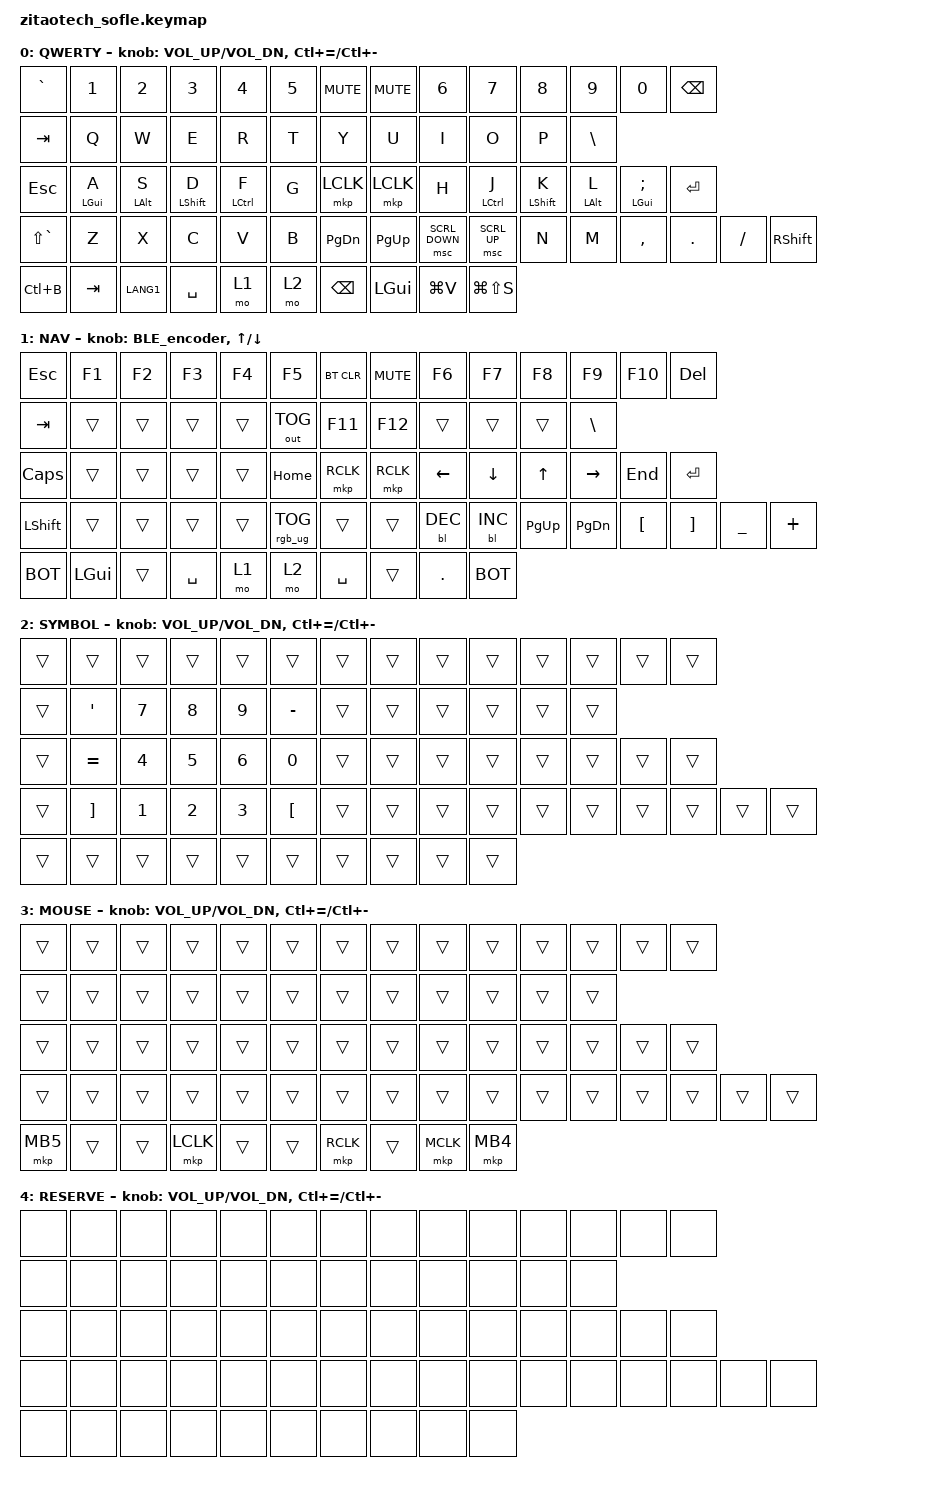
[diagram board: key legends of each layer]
/*
 * Copyright (c) 2025 ZitaoTech
 * SPDX-License-Identifier: MIT
 *
 * 定制键图 —— 设计记录见 keymap-design/
 * Caps->Esc / 位置0=`~` / HRM(A S D F + J K L ;) / 60=导航层 / 61=符号层(兼小红点滚轮) / MOUSE层自动
 */

#include <behaviors.dtsi>
#include <dt-bindings/zmk/keys.h>
#include <dt-bindings/zmk/bt.h>
#include <dt-bindings/zmk/outputs.h>
#include <dt-bindings/zmk/mouse.h>
#include <dt-bindings/zmk/backlight.h>
#include <dt-bindings/zmk/ext_power.h>
#include <dt-bindings/zmk/rgb.h>

#define FUNC 1
#define RES 2
#define BOT bootloader

/ {
    input_processors {
        zip_temp_layer: zip_temp_layer {
            compatible = "zmk,input-processor-temp-layer";
            #input-processor-cells = <2>;
        };
        ip_behaviors0: ip_behaviors0 { compatible = "zmk,input-processor-behaviors"; #input-processor-cells = <0>; type = <INPUT_EV_KEY>; codes = <INPUT_BTN_0>; bindings = <&kp RIGHT>; };
        ip_behaviors1: ip_behaviors1 { compatible = "zmk,input-processor-behaviors"; #input-processor-cells = <0>; type = <INPUT_EV_KEY>; codes = <INPUT_BTN_1>; bindings = <&kp LEFT>; };
        ip_behaviors2: ip_behaviors2 { compatible = "zmk,input-processor-behaviors"; #input-processor-cells = <0>; type = <INPUT_EV_KEY>; codes = <INPUT_BTN_2>; bindings = <&kp DOWN>; };
        ip_behaviors3: ip_behaviors3 { compatible = "zmk,input-processor-behaviors"; #input-processor-cells = <0>; type = <INPUT_EV_KEY>; codes = <INPUT_BTN_3>; bindings = <&kp UP>; };
    };
};

/ {
    behaviors {
        /* Home row mods：长按=修饰键、轻点=字母。
         * 位置化触发：左手修饰键只被「右手键 + 两侧拇指」触发，右手反之 → 同手连打不误触
         * 参数取自 urob/zmk-config
         */
        hml: homerow_left {
            compatible = "zmk,behavior-hold-tap";
            #binding-cells = <2>;
            flavor = "balanced";
            tapping-term-ms = <280>;
            quick-tap-ms = <175>;
            require-prior-idle-ms = <150>;
            hold-trigger-on-release;
            hold-trigger-key-positions = <7 8 9 10 11 12 13 20 21 22 23 24 25 33 34 35 36 37 38 39 48 49 50 51 52 53 54 55 61 62 63 64 65>;
            bindings = <&kp &kp>;
        };
        /* 左旋钮按下 LOWER 层时切蓝牙通道用 */
        BLE_encoder: BLE_encoder {
            compatible = "zmk,behavior-sensor-rotate";
            #sensor-binding-cells = <0>;
            bindings = <&bt BT_NXT>, <&bt BT_PRV>;
        };

        hmr: homerow_right {
            compatible = "zmk,behavior-hold-tap";
            #binding-cells = <2>;
            flavor = "balanced";
            tapping-term-ms = <280>;
            quick-tap-ms = <175>;
            require-prior-idle-ms = <150>;
            hold-trigger-on-release;
            hold-trigger-key-positions = <0 1 2 3 4 5 6 14 15 16 17 18 19 26 27 28 29 30 31 32 40 41 42 43 44 45 46 47 56 57 58 59 60>;
            bindings = <&kp &kp>;
        };
    };
};

/ {
    keymap {
        compatible = "zmk,keymap";

        default_layer {
            display-name = "QWERTY";
            bindings = <
                &kp GRAVE      &kp N1         &kp N2         &kp N3         &kp N4         &kp N5         &kp C_MUTE     &kp C_MUTE     &kp N6         &kp N7         &kp N8         &kp N9         &kp N0         &kp BSPC
                &kp TAB        &kp Q          &kp W          &kp E          &kp R          &kp T          &kp Y          &kp U          &kp I          &kp O          &kp P          &kp BSLH
                &kp ESC        &hml LGUI A    &hml LALT S    &hml LSHFT D   &hml LCTRL F   &kp G          &mkp LCLK      &mkp LCLK      &kp H          &hmr LCTRL J   &hmr LSHFT K   &hmr LALT L    &hmr LGUI SEMI &kp ENTER
                &kp LS(GRAVE)  &kp Z          &kp X          &kp C          &kp V          &kp B          &kp PG_DN      &kp PG_UP      &msc SCRL_DOWN &msc SCRL_UP   &kp N          &kp M          &kp COMMA      &kp DOT        &kp FSLH       &kp RSHFT
                &kp LC(B)      &kp TAB        &kp LANG1       &kp SPACE      &mo 1          &mo 2          &kp BSPC       &kp LGUI       &kp LG(V)      &kp LG(LS(S))
            >;
            sensor-bindings = <&inc_dec_kp C_VOL_UP C_VOL_DN &inc_dec_kp LC(EQUAL) LC(MINUS)>;
        };

        lower_layer {
            display-name = "NAV";
            bindings = <
                &kp ESC        &kp F1         &kp F2         &kp F3         &kp F4         &kp F5         &bt BT_CLR     &kp C_MUTE     &kp F6         &kp F7         &kp F8         &kp F9         &kp F10        &kp DEL
                &kp TAB        &trans         &trans         &trans         &trans         &out OUT_TOG   &kp F11        &kp F12        &trans         &trans         &trans         &kp BSLH
                &kp CAPS       &trans         &trans         &trans         &trans         &kp HOME       &mkp RCLK      &mkp RCLK      &kp LEFT       &kp DOWN       &kp UP         &kp RIGHT      &kp END        &kp ENTER
                &kp LSHFT      &trans         &trans         &trans         &trans         &rgb_ug RGB_TOG &trans         &trans         &bl BL_DEC     &bl BL_INC     &kp PG_UP      &kp PG_DN      &kp LBKT       &kp RBKT       &kp UNDER      &kp PLUS
                &BOT           &kp LGUI       &trans       &kp SPACE      &mo 1          &mo 2          &kp SPACE      &trans         &kp DOT        &BOT
            >;
            sensor-bindings = <&BLE_encoder &inc_dec_kp UP DOWN>;
        };

        raise_layer {
            display-name = "SYMBOL";
            bindings = <
                &trans         &trans         &trans         &trans         &trans         &trans         &trans         &trans         &trans         &trans         &trans         &trans         &trans         &trans
                &trans         &kp SQT        &kp N7         &kp N8         &kp N9         &kp MINUS      &trans         &trans         &trans         &trans         &trans         &trans
                &trans         &kp EQUAL      &kp N4         &kp N5         &kp N6         &kp N0         &trans         &trans         &trans         &trans         &trans         &trans         &trans         &trans
                &trans         &kp RBKT       &kp N1         &kp N2         &kp N3         &kp LBKT       &trans         &trans         &trans         &trans         &trans         &trans         &trans         &trans         &trans         &trans
                &trans         &trans         &trans         &trans         &trans         &trans         &trans         &trans         &trans         &trans
            >;
            sensor-bindings = <&inc_dec_kp C_VOL_UP C_VOL_DN &inc_dec_kp LC(EQUAL) LC(MINUS)>;
        };

        MOUSE_layer {
            display-name = "MOUSE";
            bindings = <
                &trans         &trans         &trans         &trans         &trans         &trans         &trans         &trans         &trans         &trans         &trans         &trans         &trans         &trans
                &trans         &trans         &trans         &trans         &trans         &trans         &trans         &trans         &trans         &trans         &trans         &trans
                &trans         &trans         &trans         &trans         &trans         &trans         &trans         &trans         &trans         &trans         &trans         &trans         &trans         &trans
                &trans         &trans         &trans         &trans         &trans         &trans         &trans         &trans         &trans         &trans         &trans         &trans         &trans         &trans         &trans         &trans
                &mkp MB5       &trans         &trans         &mkp LCLK      &trans         &trans         &mkp RCLK      &trans         &mkp MCLK      &mkp MB4
            >;
            sensor-bindings = <&inc_dec_kp C_VOL_UP C_VOL_DN &inc_dec_kp LC(EQUAL) LC(MINUS)>;
        };

        RES_layer {
            display-name = "RESERVE";
            bindings = <
                &none          &none          &none          &none          &none          &none          &none          &none          &none          &none          &none          &none          &none          &none
                &none          &none          &none          &none          &none          &none          &none          &none          &none          &none          &none          &none
                &none          &none          &none          &none          &none          &none          &none          &none          &none          &none          &none          &none          &none          &none
                &none          &none          &none          &none          &none          &none          &none          &none          &none          &none          &none          &none          &none          &none          &none          &none
                &none          &none          &none          &none          &none          &none          &none          &none          &none          &none
            >;
            sensor-bindings = <&inc_dec_kp C_VOL_UP C_VOL_DN &inc_dec_kp LC(EQUAL) LC(MINUS)>;
        };
    };
};
